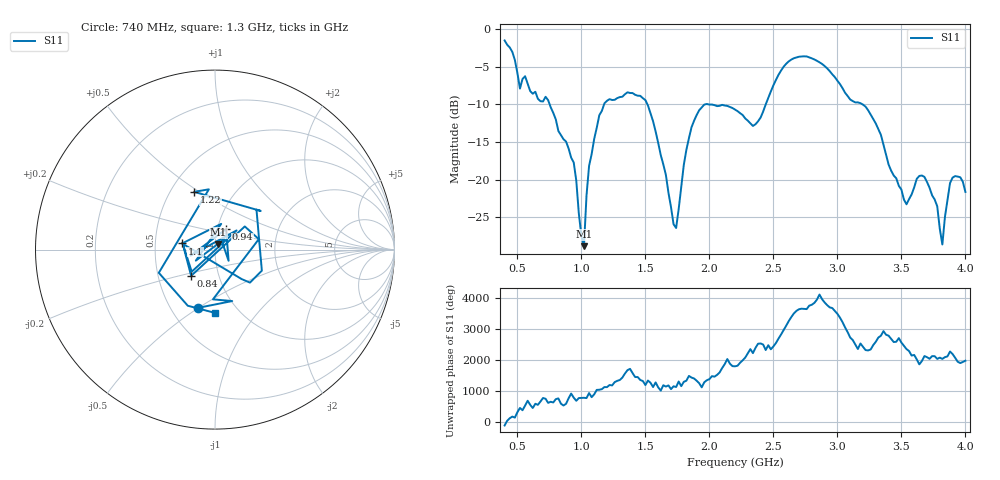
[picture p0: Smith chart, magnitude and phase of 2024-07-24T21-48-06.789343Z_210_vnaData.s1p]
!Created with skrf (http://scikit-rf.org).
# Hz S RI R 50.0
!freq ReS11 ImS11
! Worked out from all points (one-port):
!   181 points, 400 MHz to 4 GHz, reference 50 ohm
!   lowest |S11| = -28.9 dB at 1.02 GHz (marker M1), VSWR 1.07, Z = 51.9 + j3.16 ohm
!   |S11| at or under -10 dB: 1.516 GHz to 1.97 GHz (454.3 MHz wide, 26.1 % of centre); 1.99 GHz to 2.44 GHz (450.4 MHz wide, 20.3 % of centre); 3.195 GHz to end of sweep (the widest 3 of 4)
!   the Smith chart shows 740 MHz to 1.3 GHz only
!   S11 on the Smith chart (normalised r, x): 740 MHz: 0.68, -0.50; 840 MHz: 0.74, -0.22; 940 MHz: 1.10, +0.26; 1.1 GHz: 0.69, +0.05; 1.22 GHz: 0.65, +0.48; 1.3 GHz: 0.78, -0.63
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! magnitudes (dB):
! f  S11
! 400 MHz  -1.5
! 520 MHz  -7.9
! 740 MHz  -9.4
! 840 MHz  -14.1
! 860 MHz  -14.6
! 940 MHz  -17.7
! 1.02 GHz  -28.9
! 1.06 GHz  -18.2
! 1.1 GHz  -14.6
! 1.22 GHz  -9.3
! 1.3 GHz  -9.0
! 1.5 GHz  -9.4
! 1.66 GHz  -19.4
! 1.72 GHz  -25.9
! 1.76 GHz  -23.9
! 1.82 GHz  -16.1
! 1.92 GHz  -10.8
! 2.2 GHz  -10.7
! 2.36 GHz  -12.7
! 2.66 GHz  -3.9
! 3.1 GHz  -9.4
! 3.26 GHz  -11.4
! 3.56 GHz  -22.6
! 3.68 GHz  -19.7
! 3.78 GHz  -23.6
! 3.82 GHz  -28.6
! 3.88 GHz  -20.5
! 4 GHz  -21.6
